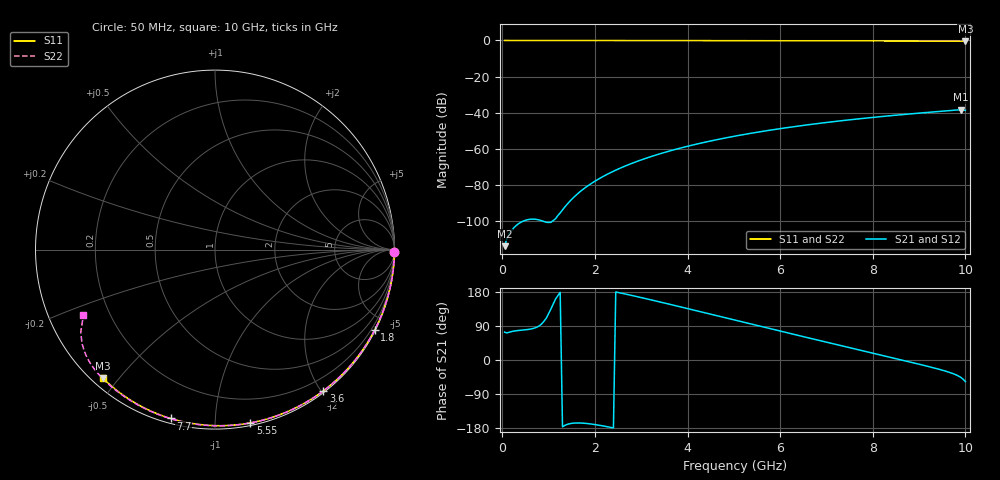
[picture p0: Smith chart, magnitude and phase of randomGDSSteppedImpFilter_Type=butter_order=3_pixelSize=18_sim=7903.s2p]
! freq	dB(S11)	phase(S11)	dB(S12)	phase(S12)
!  dB(S21)	phase(S21)	dB(S22)	phase(S22)
!S-par simulation data
#  GHz  S  DB  R 50
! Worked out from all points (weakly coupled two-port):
!   200 points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, 50 MHz to 10 GHz, reference 50 ohm
!   highest |S21| = -38.45 dB at 9.9 GHz (marker M1); lowest = -114.1 dB at 50 MHz (marker M2)
!   lowest |S11| = -0.4 dB at 10 GHz (marker M3), VSWR 39.11, Z = 1.54 - j22.8 ohm
!   |S11| at or under -10 dB: nowhere
!   |S22| runs from -1.7 to 0.0 dB; largest |S21 - S12| = 0
!   S11 on the Smith chart (normalised r, x): 50 MHz: open; 1.8 GHz: 0.04, -4.19; 3.6 GHz: 0.02, -2.03; 5.55 GHz: 0.02, -1.23; 7.7 GHz: 0.02, -0.77; 10 GHz: 0.03, -0.46
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0.05  -0.00 -0.8  -114.06 73.5  -114.06 73.5  -0.00 -0.8
0.9  -0.02 -13.5  -100.40 102.2  -100.40 102.2  -0.02 -13.8
1.75  -0.03 -26.1  -82.42 -166.7  -82.42 -166.7  -0.03 -26.7
1.8  -0.03 -26.9  -81.46 -167.3  -81.46 -167.3  -0.03 -27.4
1.9  -0.04 -28.3  -79.68 -168.6  -79.68 -168.6  -0.04 -28.9
2.25  -0.04 -33.4  -74.41 -175.6  -74.41 -175.6  -0.04 -34.1
2.65  -0.05 -39.1  -69.66 174.3  -69.66 174.3  -0.05 -40.0
3  -0.06 -44.1  -66.22 164.7  -66.22 164.7  -0.06 -45.0
3.4  -0.07 -49.7  -62.87 153.3  -62.87 153.3  -0.07 -50.8
3.6  -0.07 -52.5  -61.37 147.5  -61.37 147.5  -0.07 -53.6
4.3  -0.09 -62.1  -56.85 126.8  -56.85 126.8  -0.09 -63.4
5.05  -0.11 -72.0  -52.92 104.5  -52.92 104.5  -0.11 -73.5
5.55  -0.13 -78.4  -50.69 89.7  -50.69 89.7  -0.13 -80.2
6.7  -0.18 -92.8  -46.43 55.8  -46.43 55.8  -0.18 -95.0
7.7  -0.24 -104.7  -43.45 26.7  -43.45 26.7  -0.24 -107.6
8.35  -0.29 -112.3  -41.79 7.9  -41.79 7.9  -0.29 -115.7
9  -0.34 -119.8  -40.29 -11.1  -40.29 -11.1  -0.35 -124.3
9.45  -0.39 -124.8  -39.32 -25.1  -39.32 -25.1  -0.42 -131.3
9.75  -0.42 -128.2  -38.68 -36.7  -38.68 -36.7  -0.56 -138.3
9.9  -0.43 -129.9  -38.45 -45.9  -38.45 -45.9  -0.85 -144.9
9.95  -0.44 -130.5  -38.48 -50.6  -38.48 -50.6  -1.13 -148.5
10  -0.44 -131.0  -38.73 -57.1  -38.73 -57.1  -1.72 -153.4
